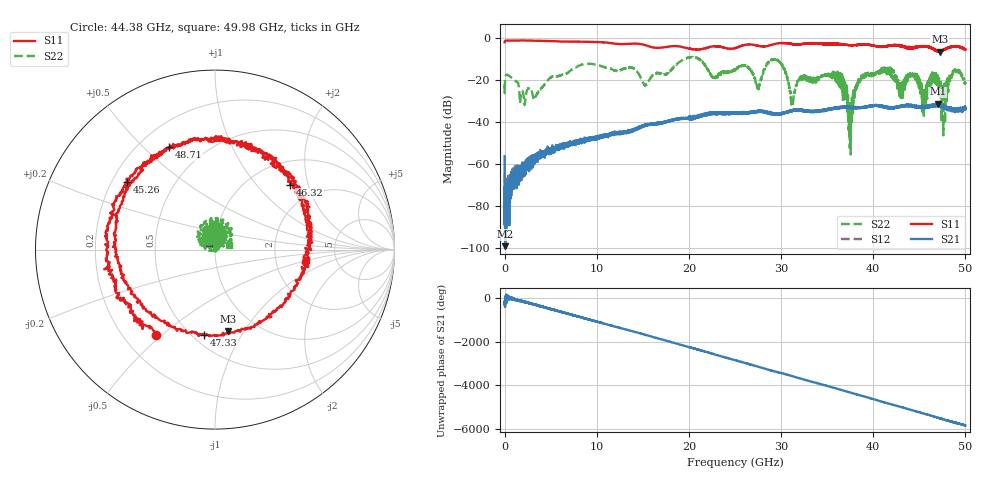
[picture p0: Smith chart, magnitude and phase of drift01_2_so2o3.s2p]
!Created with skrf (http://scikit-rf.org).
# Hz S RI R 50.0
!freq ReS11 ImS11 ReS21 ImS21 ReS12 ImS12 ReS22 ImS22
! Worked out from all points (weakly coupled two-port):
!   10001 points, 300 kHz to 50 GHz, reference 50 ohm
!   highest |S21| = -31.44 dB at 47 GHz (marker M1); lowest = -99.1 dB at 70.3 MHz (marker M2)
!   lowest |S11| = -6.8 dB at 47.21 GHz (marker M3), VSWR 2.70, Z = 37.2 - j42.7 ohm
!   |S11| at or under -10 dB: nowhere
!   |S22| runs from -55.6 to -9.2 dB; largest |S21 - S12| = 0.004
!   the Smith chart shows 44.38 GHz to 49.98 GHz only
!   S11 on the Smith chart (normalised r, x): 44.38 GHz: 0.34, -0.48; 45.26 GHz: 0.26, +0.32; 46.32 GHz: 1.48, +1.54; 47.33 GHz: 0.57, -0.70; 48.71 GHz: 0.32, +0.60; 49.98 GHz: 3.02, -0.46
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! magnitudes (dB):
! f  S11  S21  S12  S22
! 300 kHz  -2.2  -56.4  -64.9  -22.4
! 70.3 MHz  -1.5  -99.1  -87.3  -19.2
! 3.29 GHz  -1.5  -56.3  -57.0  -28.9
! 8.335 GHz  -2.0  -49.0  -48.9  -12.9
! 16.67 GHz  -4.9  -40.8  -40.8  -16.7
! 25 GHz  -5.0  -35.8  -35.9  -15.3
! 29.6 GHz  -2.8  -36.7  -36.5  -10.7
! 31.23 GHz  -3.1  -34.8  -34.5  -30.6
! 33.34 GHz  -2.6  -35.1  -35.2  -19.6
! 36.21 GHz  -3.0  -33.5  -33.2  -20.3
! 37.52 GHz  -3.6  -33.1  -33.0  -36.8
! 38.59 GHz  -3.4  -33.1  -33.4  -18.9
! 41.67 GHz  -3.9  -33.7  -33.2  -15.2
! 44.38 GHz  -4.8  -32.7  -32.8  -17.1
! 45.26 GHz  -4.2  -33.1  -33.1  -24.2
! 46.32 GHz  -5.2  -32.4  -32.5  -19.9
! 47 GHz  -6.4  -31.4  -32.2  -19.3
! 47.21 GHz  -6.8  -32.3  -32.1  -26.5
! 47.33 GHz  -6.4  -32.2  -32.6  -21.2
! 48.71 GHz  -4.1  -34.6  -34.5  -15.7
! 49.98 GHz  -5.8  -33.2  -33.8  -21.5
! 50 GHz  -5.7  -33.6  -33.3  -21.7
